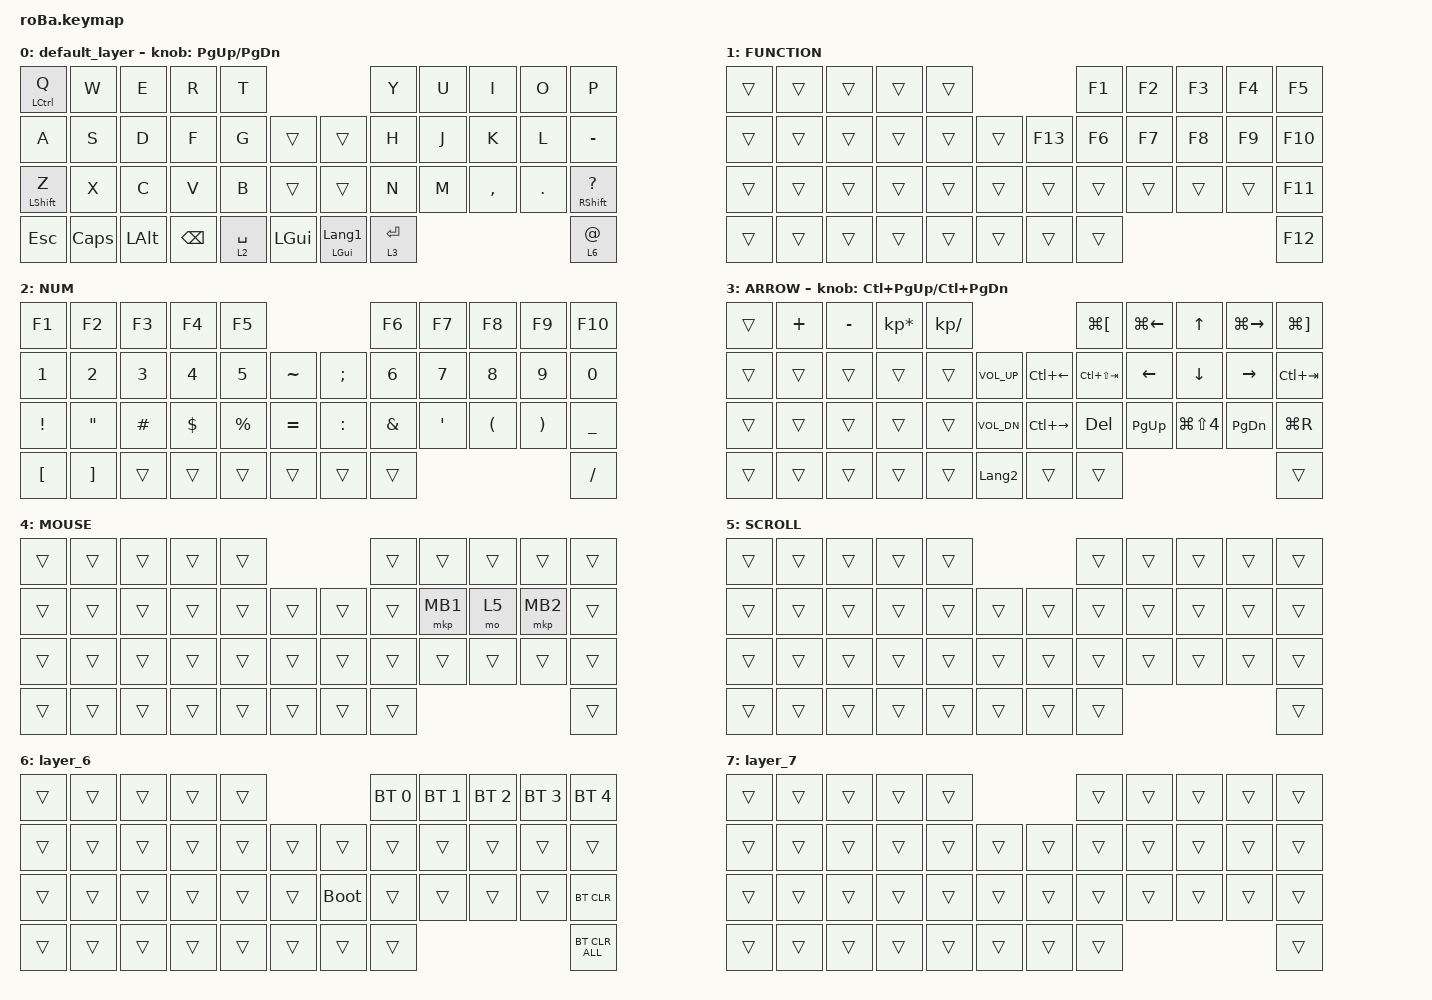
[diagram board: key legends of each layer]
#include <behaviors.dtsi>
#include <dt-bindings/zmk/bt.h>
#include <dt-bindings/zmk/keys.h>
#include <dt-bindings/zmk/pointing.h>

#define MOUSE 4
#define SCROLL 5
#define NUM 6

&mt {
    flavor = "balanced";
    quick-tap-ms = <0>;
};

/ {
    combos {
        compatible = "zmk,combos";

        tab {
            bindings = <&kp TAB>;
            key-positions = <11 12>;
        };

        shift_tab {
            bindings = <&kp LS(TAB)>;
            key-positions = <12 13>;
        };

        apostrophe {
            bindings = <&kp APOS>;
            key-positions = <20 19>;
        };

        choon {
            bindings = <&kp MINUS>;
            key-positions = <8 9>;
        };

        esc {
            bindings = <&kp ESCAPE>;
            key-positions = <1 0>;
        };

        mute {
            bindings = <&kp C_MUTE>;
            key-positions = <15 27>;
        };

        dock {
            bindings = <&kp LC(UP_ARROW)>;
            key-positions = <16 28>;
        };

        shift {
            bindings = <&kp LEFT_SHIFT>;
            key-positions = <22 23>;
        };
    };

    macros {
        to_layer_0: to_layer_0 {
            compatible = "zmk,behavior-macro-one-param";
            #binding-cells = <1>;
            bindings = <&to 0 &macro_param_1to1 &kp MACRO_PLACEHOLDER>;
            label = "TO_LAYER_0";
        };
    };

    behaviors {
        lt_to_layer_0: lt_to_layer_0 {
            compatible = "zmk,behavior-hold-tap";
            label = "LAYER_TAP_TO_0";
            bindings = <&mo>, <&to_layer_0>;

            #binding-cells = <2>;
            tapping-term-ms = <200>;
        };
    };

    keymap {
        compatible = "zmk,keymap";

        default_layer {
            bindings = <
&mt LCTRL Q       &kp W         &kp E         &kp R          &kp T                                                   &kp Y        &kp U  &kp I      &kp O    &kp P
&kp A             &kp S         &kp D         &kp F          &kp G        &trans            &trans                   &kp H        &kp J  &kp K      &kp L    &kp MINUS
&mt LEFT_SHIFT Z  &kp X         &kp C         &kp V          &kp B        &trans            &trans                   &kp N        &kp M  &kp COMMA  &kp DOT  &mt RIGHT_SHIFT QUESTION
&kp ESCAPE        &kp CAPSLOCK  &kp LEFT_ALT  &kp BACKSPACE  &lt 2 SPACE  &kp LEFT_GUI      &mt LEFT_GUI LANGUAGE_1  &lt 3 ENTER                             &lt 6 AT_SIGN
            >;

            sensor-bindings = <&inc_dec_kp PG_UP PAGE_DOWN>;
        };

        FUNCTION {
            bindings = <
&trans  &trans  &trans  &trans  &trans                       &kp F1  &kp F2  &kp F3  &kp F4  &kp F5
&trans  &trans  &trans  &trans  &trans  &trans      &kp F13  &kp F6  &kp F7  &kp F8  &kp F9  &kp F10
&trans  &trans  &trans  &trans  &trans  &trans      &trans   &trans  &trans  &trans  &trans  &kp F11
&trans  &trans  &trans  &trans  &trans  &trans      &trans   &trans                          &kp F12
            >;
        };

        NUM {
            bindings = <
&kp F1            &kp F2             &kp F3    &kp F4      &kp F5                                 &kp F6         &kp F7   &kp F8                &kp F9                 &kp F10
&kp N1            &kp N2             &kp N3    &kp N4      &kp N5       &kp TILDE      &kp SEMI   &kp N6         &kp N7   &kp N8                &kp N9                 &kp N0
&kp EXCLAMATION   &kp DOUBLE_QUOTES  &kp HASH  &kp DOLLAR  &kp PERCENT  &kp EQUAL      &kp COLON  &kp AMPERSAND  &kp SQT  &kp LEFT_PARENTHESIS  &kp RIGHT_PARENTHESIS  &kp UNDERSCORE
&kp LEFT_BRACKET  &kp RIGHT_BRACKET  &trans    &trans      &trans       &trans         &trans     &trans                                                               &kp SLASH
            >;
        };

        ARROW {
            bindings = <
&trans  &kp PLUS  &kp MINUS  &kp KP_ASTERISK  &kp KP_DIVIDE                                      &kp LG(LEFT_BRACKET)  &kp LG(LEFT)    &kp UP_ARROW          &kp LG(RIGHT_ARROW)  &kp LG(RIGHT_BRACKET)
&trans  &trans    &trans     &trans           &trans         &kp C_VOLUME_UP      &kp LC(LEFT)   &kp LC(LS(TAB))       &kp LEFT_ARROW  &kp DOWN_ARROW        &kp RIGHT_ARROW      &kp LC(TAB)
&trans  &trans    &trans     &trans           &trans         &kp C_VOL_DN         &kp LC(RIGHT)  &kp DELETE            &kp PG_UP       &kp LG(LS(NUMBER_4))  &kp PAGE_DOWN        &kp LG(R)
&trans  &trans    &trans     &trans           &trans         &kp LANGUAGE_2       &trans         &trans                                                                           &trans
            >;

            sensor-bindings = <&inc_dec_kp LC(PAGE_UP) LC(PAGE_DOWN)>;
        };

        MOUSE {
            bindings = <
&trans  &trans  &trans  &trans  &trans                      &trans  &trans    &trans  &trans    &trans
&trans  &trans  &trans  &trans  &trans  &trans      &trans  &trans  &mkp MB1  &mo 5   &mkp MB2  &trans
&trans  &trans  &trans  &trans  &trans  &trans      &trans  &trans  &trans    &trans  &trans    &trans
&trans  &trans  &trans  &trans  &trans  &trans      &trans  &trans                              &trans
            >;
        };

        SCROLL {
            bindings = <
&trans  &trans  &trans  &trans  &trans                      &trans  &trans  &trans  &trans  &trans
&trans  &trans  &trans  &trans  &trans  &trans      &trans  &trans  &trans  &trans  &trans  &trans
&trans  &trans  &trans  &trans  &trans  &trans      &trans  &trans  &trans  &trans  &trans  &trans
&trans  &trans  &trans  &trans  &trans  &trans      &trans  &trans                          &trans
            >;
        };

        layer_6 {
            bindings = <
&trans  &trans  &trans  &trans  &trans                           &bt BT_SEL 0  &bt BT_SEL 1  &bt BT_SEL 2  &bt BT_SEL 3  &bt BT_SEL 4
&trans  &trans  &trans  &trans  &trans  &trans      &trans       &trans        &trans        &trans        &trans        &trans
&trans  &trans  &trans  &trans  &trans  &trans      &bootloader  &trans        &trans        &trans        &trans        &bt BT_CLR
&trans  &trans  &trans  &trans  &trans  &trans      &trans       &trans                                                  &bt BT_CLR_ALL
            >;
        };

        layer_7 {
            bindings = <
&trans  &trans  &trans  &trans  &trans                      &trans  &trans  &trans  &trans  &trans
&trans  &trans  &trans  &trans  &trans  &trans      &trans  &trans  &trans  &trans  &trans  &trans
&trans  &trans  &trans  &trans  &trans  &trans      &trans  &trans  &trans  &trans  &trans  &trans
&trans  &trans  &trans  &trans  &trans  &trans      &trans  &trans                          &trans
            >;
        };
    };
};
